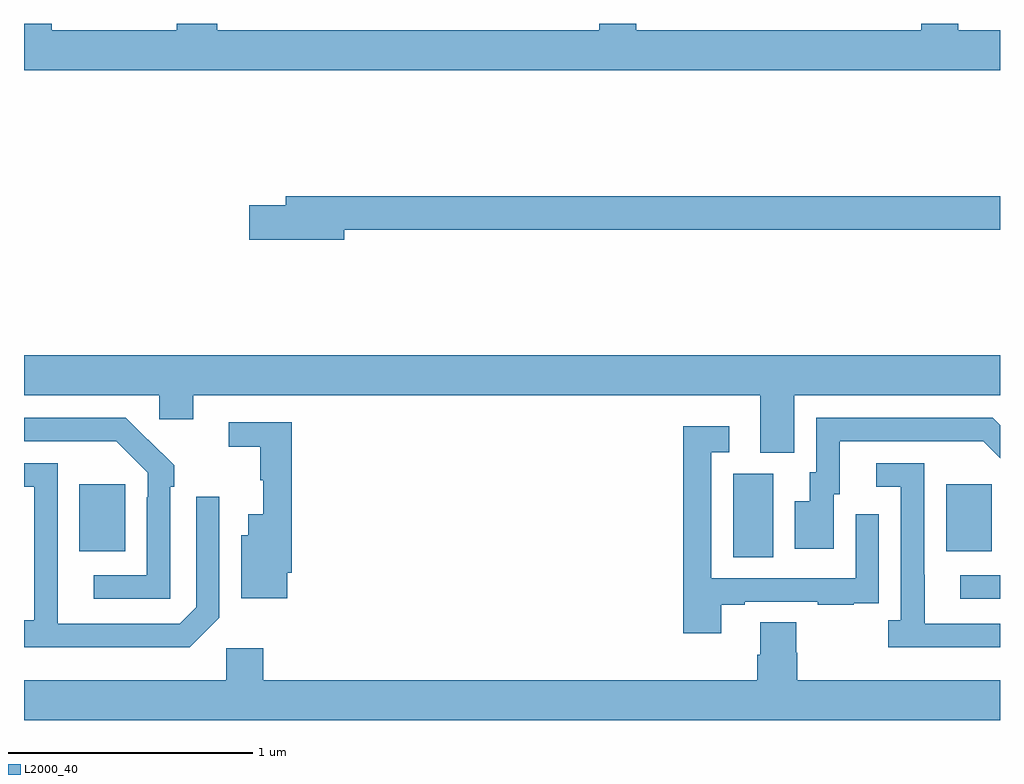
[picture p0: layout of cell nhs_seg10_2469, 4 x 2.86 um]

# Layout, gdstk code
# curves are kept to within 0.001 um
import gdstk
lib = gdstk.Library(unit=1e-6, precision=1e-09)
def R(c, l, rs):  # rectangles x0, y0, x1, y1
    for r in rs: c.add(gdstk.rectangle(r[:2], r[2:], *l))
def P(c, l, *ps):  # polygons
    for p in ps: c.add(gdstk.Polygon(p, *l))
L2000_40 = (2000, 40)

nhs_seg10_2469 = lib.new_cell('nhs_seg10_2469')
R(nhs_seg10_2469, L2000_40, [(246.837,1306.143,247,1306.239), (245.906,1306.312,246.07,1306.656), (243.227,1306.337,243.415,1306.612), (246.779,1306.337,246.967,1306.612)])
P(nhs_seg10_2469, L2000_40, [(247,1308.472),(246.828,1308.472),(246.828,1308.5),(246.677,1308.5),(246.677,1308.472),(245.509,1308.472),(245.509,1308.5),(245.357,1308.5),(245.357,1308.472),(243.791,1308.472),(243.791,1308.5),(243.626,1308.5),(243.626,1308.472),(243.113,1308.472),(243.113,1308.5),(243,1308.5),(243,1308.308),(247,1308.308)],
  [(244.312,1307.656),(247,1307.656),(247,1307.792),(244.073,1307.792),(244.073,1307.756),(243.924,1307.756),(243.924,1307.614),(244.312,1307.614)],
  [(246.157,1306.976),(247,1306.976),(247,1307.14),(243,1307.14),(243,1306.976),(243.555,1306.976),(243.555,1306.878),(243.694,1306.878),(243.694,1306.976),(246.017,1306.976),(246.017,1306.741),(246.157,1306.741)],
  [(243.6,1306.601),(243.615,1306.601),(243.615,1306.689),(243.418,1306.884),(243,1306.884),(243,1306.788),(243.379,1306.788),(243.507,1306.659),(243.507,1306.559),(243.504,1306.559),(243.504,1306.239),(243.285,1306.239),(243.285,1306.143),(243.6,1306.143)],
  [(246.319,1306.572),(246.343,1306.572),(246.343,1306.788),(246.931,1306.788),(247,1306.718),(247,1306.854),(246.97,1306.884),(246.246,1306.884),(246.246,1306.662),(246.221,1306.662),(246.221,1306.543),(246.158,1306.543),(246.158,1306.347),(246.319,1306.347)],
  [(244.078,1306.249),(244.097,1306.249),(244.097,1306.866),(243.84,1306.866),(243.84,1306.765),(243.969,1306.765),(243.969,1306.629),(243.98,1306.629),(243.98,1306.489),(243.92,1306.489),(243.92,1306.402),(243.89,1306.402),(243.89,1306.145),(244.078,1306.145)],
  [(245.857,1306.119),(245.953,1306.119),(245.953,1306.131),(246.253,1306.131),(246.253,1306.119),(246.401,1306.119),(246.401,1306.125),(246.503,1306.125),(246.503,1306.234),(246.504,1306.234),(246.504,1306.489),(246.408,1306.489),(246.408,1306.227),(245.817,1306.227),(245.817,1306.743),(245.89,1306.743),(245.89,1306.849),(245.701,1306.849),(245.701,1306.002),(245.857,1306.002)],
  [(247,1306.041),(246.691,1306.041),(246.691,1306.241),(246.69,1306.241),(246.69,1306.698),(246.492,1306.698),(246.492,1306.602),(246.594,1306.602),(246.594,1306.054),(246.543,1306.054),(246.543,1305.944),(247,1305.944)],
  [(243.801,1306.065),(243.801,1306.561),(243.705,1306.561),(243.705,1306.107),(243.639,1306.041),(243.139,1306.041),(243.138,1306.698),(243,1306.698),(243,1306.602),(243.042,1306.602),(243.042,1306.054),(243,1306.054),(243,1305.944),(243.68,1305.944)],
  [(247,1305.808),(246.17,1305.808),(246.17,1305.921),(246.165,1305.921),(246.165,1306.046),(246.017,1306.046),(246.017,1305.914),(246.005,1305.914),(246.005,1305.808),(243.98,1305.808),(243.98,1305.94),(243.828,1305.94),(243.828,1305.808),(243,1305.808),(243,1305.644),(247,1305.644)])

lib.write_gds('nhs_seg10_2469.gds')
